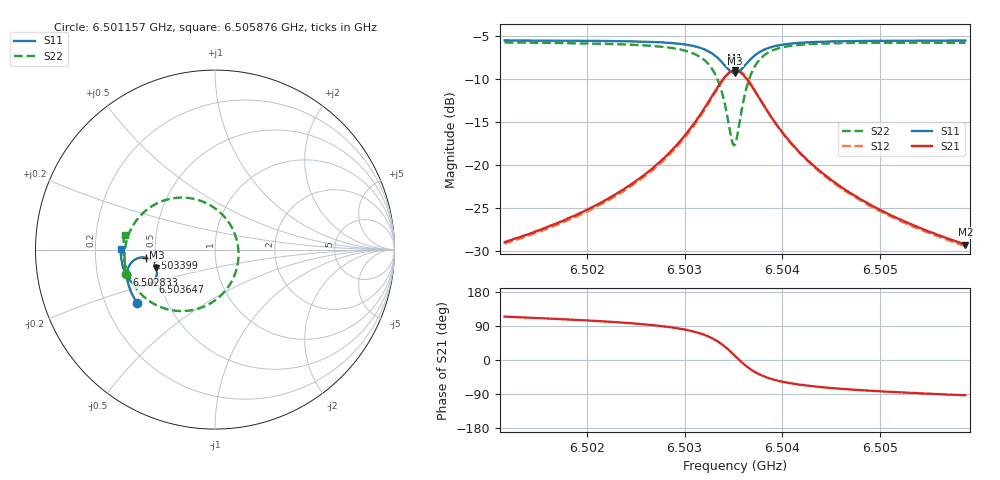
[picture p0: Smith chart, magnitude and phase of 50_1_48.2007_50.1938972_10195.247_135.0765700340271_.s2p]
#  HZ  S  RI  R  50.00
! Rohde & Schwarz Vector Network Analyzer
! Rohde-Schwarz,ZNB20-2Port,1311601062101988,3.16
! Created: UTC 3/20/2024, 11:38:13 AM
! freq[Hz]  re:S11  im:S11  re:S21  im:S21  re:S12  im:S12  re:S22  im:S22
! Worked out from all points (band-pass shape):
!   401 points, 6.501157 GHz to 6.505876 GHz, reference 50 ohm
!   highest |S21| = -9.05 dB at 6.503517 GHz (marker M1); lowest = -29.2 dB at 6.505876 GHz (marker M2)
!   |S21| within 3 dB of the highest: 6.50328 GHz to 6.503753 GHz (472.7 kHz wide, 0.00727 % of centre)
!   lowest |S11| = -9.3 dB at 6.503517 GHz (marker M3), VSWR 2.04, Z = 25 - j5.68 ohm
!   |S11| at or under -10 dB: nowhere
!   |S22| runs from -17.7 to -5.8 dB; largest |S21 - S12| = 0.012
!   S11 on the Smith chart (normalised r, x): 6.501157 GHz: 0.34, -0.28; 6.502833 GHz: 0.33, -0.13; 6.503399 GHz: 0.45, -0.05; 6.503647 GHz: 0.46, -0.20; 6.505876 GHz: 0.31, +0.00
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6.5011572e9  -0.4355 -0.2958  -0.0148 0.0324  -0.0129 0.0324  -0.495 -0.1341
6.5019477e9  -0.4683 -0.2354  -0.0139 0.0512  -0.0114 0.0508  -0.5045 -0.0462
6.5023724e9  -0.4823 -0.1964  -0.0106 0.0712  -0.00745 0.0699  -0.4994 0.0176
6.5027381e9  -0.4901 -0.154  -0.000459 0.1031  0.00327 0.1005  -0.4765 0.096
6.5028325e9  -0.4905 -0.1405  0.00553 0.1157  0.00928 0.1125  -0.4634 0.1229
6.5030331e9  -0.4847 -0.1058  0.0306 0.1524  0.0342 0.1476  -0.4112 0.1938
6.5031747e9  -0.4681 -0.0753  0.0725 0.1876  0.0749 0.1814  -0.3304 0.254
6.5033045e9  -0.4305 -0.0481  0.153 0.2138  0.1535 0.2074  -0.1836 0.2898
6.5033988e9  -0.382 -0.0461  0.2481 0.1957  0.2481 0.1911  -0.0189 0.2428
6.5034814e9  -0.3374 -0.0771  0.3289 0.1172  0.3315 0.113  0.1102 0.0877
6.5035168e9  -0.3262 -0.1004  0.3466 0.0661  0.3508 0.0609  0.1311 -0.0084
6.5035404e9  -0.3233 -0.1175  0.35 0.0302  0.3544 0.0232  0.1277 -0.0748
6.5035758e9  -0.3256 -0.1426  0.3419 -0.0221  0.3458 -0.0312  0.0981 -0.1675
6.5036466e9  -0.3489 -0.1814  0.2927 -0.1011  0.2926 -0.113  -0.0182 -0.2949
6.503741e9  -0.3912 -0.2018  0.2111 -0.1454  0.206 -0.156  -0.1848 -0.3427
6.5038118e9  -0.4183 -0.202  0.1615 -0.1504  0.1546 -0.1588  -0.2774 -0.3289
6.5038944e9  -0.4421 -0.1947  0.1195 -0.1441  0.112 -0.1498  -0.3511 -0.2962
6.5040713e9  -0.4736 -0.1719  0.0673 -0.1205  0.0608 -0.1228  -0.4354 -0.2217
6.5043073e9  -0.495 -0.1423  0.0359 -0.0941  0.0307 -0.0946  -0.4807 -0.1462
6.5046848e9  -0.5116 -0.1016  0.0151 -0.0678  0.0116 -0.0675  -0.505 -0.0653
6.5050978e9  -0.5204 -0.0624  0.0055 -0.0513  0.00311 -0.0506  -0.5107 -0.00372
6.5058764e9  -0.5261 0.00443  -0.00182 -0.0345  -0.00319 -0.0336  -0.504 0.0827
